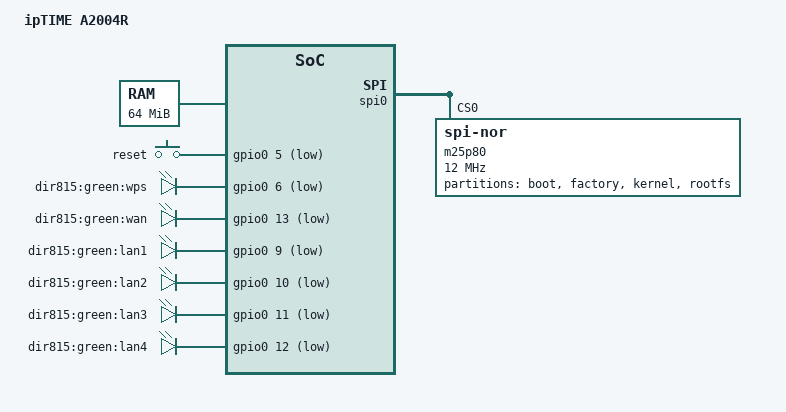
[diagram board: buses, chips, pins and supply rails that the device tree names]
// SPDX-License-Identifier: GPL-2.0
/dts-v1/;

#include "RTL819X.dtsi"

#include <dt-bindings/gpio/gpio.h>
#include <dt-bindings/input/input.h>

/ {
	compatible = "ipTIME,iptime-a2004r", "realtek,rtl819x-soc";
	model = "ipTIME A2004R";

	cpus {
		cpu@0 {
			compatible = "realtek,rlx5281";
		};
	};

	memory {
		device_type = "memory";
		reg = <0x0 0x4000000>;
	};

	chosen {
		bootargs = "console=ttyS0,38400";
	};

	gpio-keys-polled {
		compatible = "gpio-keys-polled";
		#address-cells = <1>;
		#size-cells = <0>;
		poll-interval = <20>;

		reset {
			label = "reset";
			gpios = <&gpio0 5 GPIO_ACTIVE_LOW>;
			linux,code = <KEY_RESTART>;
		};
	};

	gpio-leds {
		compatible = "gpio-leds";

		wps {
			label = "dir815:green:wps";
			gpios = <&gpio0 6 GPIO_ACTIVE_LOW>;
		};

		wan {
			label = "dir815:green:wan";
			gpios = <&gpio0 13 GPIO_ACTIVE_LOW>;
		};

		lan1 {
			label = "dir815:green:lan1";
			gpios = <&gpio0 9 GPIO_ACTIVE_LOW>;
		};

		lan2 {
			label = "dir815:green:lan2";
			gpios = <&gpio0 10 GPIO_ACTIVE_LOW>;
		};

		lan3 {
			label = "dir815:green:lan3";
			gpios = <&gpio0 11 GPIO_ACTIVE_LOW>;
		};

		lan4 {
			label = "dir815:green:lan4";
			gpios = <&gpio0 12 GPIO_ACTIVE_LOW>;
		};
	};
};

&gpio0 {
	status = "okay";
};

&spi0 {
	status = "okay";

	m25p80@0 {
		#address-cells = <1>;
		#size-cells = <1>;
		compatible = "jedec,spi-nor";
		reg = <0>;
		spi-max-frequency = <12000000>;

		partition@0 {
			label = "boot";
			reg = <0x0 0x6000>;
			read-only;
		};
		firmware {
			label = "firmware";
			reg = <0x0 0x3E5000>;
		};
                factory: partition@6000 {
                        label = "factory";
                        reg = <0x6000 0x1a000>;
                };
		kernel: partition@20000 {
			label = "kernel";
			reg = <0x20000 0x180000>;
		};
		partition@1A0000 {
			label = "rootfs";
			reg = <0x1A0000 0x245000>;
		};
	};
};
